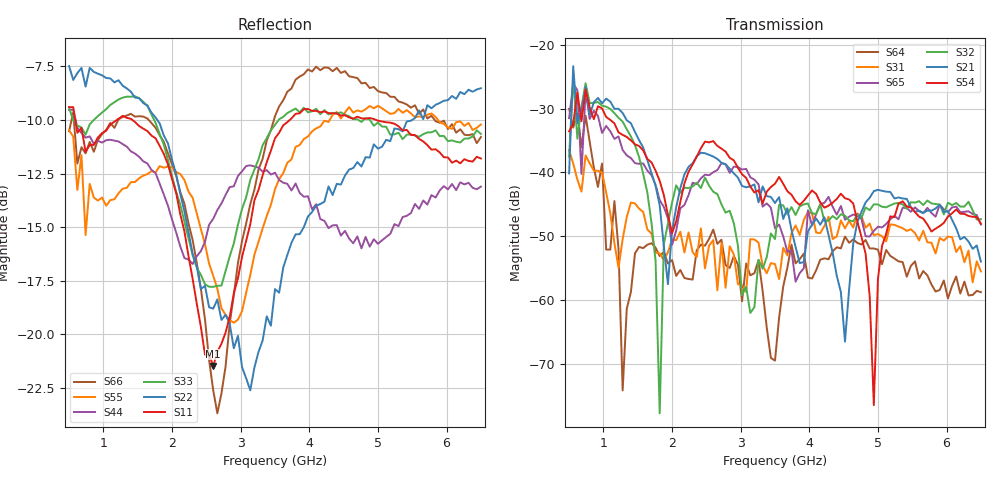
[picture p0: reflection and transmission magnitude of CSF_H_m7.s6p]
!Keysight Technologies,M9804A,MY58100912,A.14.10.03
!Date: Thursday, April 27, 2023 10:28:33
!Correction: S11(C  6-Port  )
!S12(C  6-Port  )
!S13(C  6-Port  )
!S14(C  6-Port  )
!S15(C  6-Port  )
!S16(C  6-Port  )
!S21(C  6-Port  )
!S22(C  6-Port  )
!S23(C  6-Port  )
!S24(C  6-Port  )
!S25(C  6-Port  )
!S26(C  6-Port  )
!S31(C  6-Port  )
!S32(C  6-Port  )
!S33(C  6-Port  )
!S34(C  6-Port  )
!S35(C  6-Port  )
!S36(C  6-Port  )
!S41(C  6-Port  )
!S42(C  6-Port  )
!S43(C  6-Port  )
!S44(C  6-Port  )
!S45(C  6-Port  )
!S46(C  6-Port  )
!S51(C  6-Port  )
!S52(C  6-Port  )
!S53(C  6-Port  )
!S54(C  6-Port  )
!S55(C  6-Port  )
!S56(C  6-Port  )
!S61(C  6-Port  )
!S62(C  6-Port  )
!S63(C  6-Port  )
!S64(C  6-Port  )
!S65(C  6-Port  )
!S66(C  6-Port  )
!S6P File: Measurement: :
# Hz S  RI  R 50
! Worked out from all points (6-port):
!   101 points, 500 MHz to 6.5 GHz, reference 50 ohm
!   strongest paths, dB at 500 MHz, 2 GHz, 3.5 GHz, 5 GHz, 6.5 GHz:
!     S54: -33.6, -49.5, -41.8, -56.7, -48.0
!     S21: -40.2, -49.1, -44.8, -42.7, -54.0
!     S32: -37.5, -44.7, -50.4, -45.0, -47.3
!     S65: -31.5, -51.3, -48.8, -48.5, -48.2
!     S31: -36.5, -50.5, -54.4, -49.6, -55.5
!     S64: -30.0, -53.7, -69.5, -52.1, -58.7
!   lowest |S11| = -21.5 dB at 2.6 GHz (marker M1), VSWR 1.18, Z = 42.5 + j2.19 ohm
!   |S11| at or under -10 dB: 589.9 MHz to 1.194 GHz (604.1 MHz wide, 67.7 % of centre); 1.423 GHz to 3.714 GHz (2.292 GHz wide, 89.2 % of centre); 4.975 GHz to end of sweep
